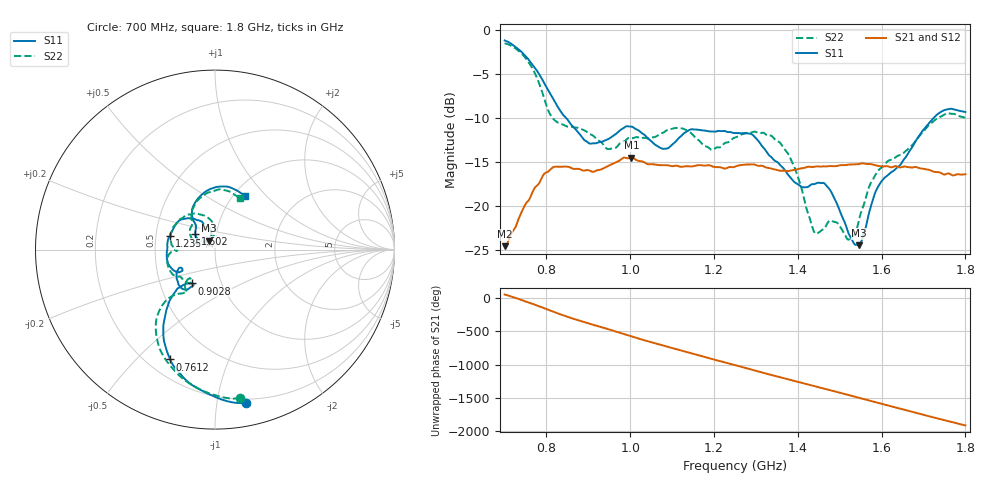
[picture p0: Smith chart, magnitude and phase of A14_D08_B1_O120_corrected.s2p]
! Created with skrf 1.9.0 (http://scikit-rf.org).
# Hz S RI R 50.0
!freq ReS11 ImS11 ReS21 ImS21 ReS12 ImS12 ReS22 ImS22
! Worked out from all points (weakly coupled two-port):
!   1601 points, 700 MHz to 1.8 GHz, reference 50 ohm
!   highest |S21| = -14.48 dB at 1.002 GHz (marker M1); lowest = -24.6 dB at 700.7 MHz (marker M2)
!   lowest |S11| = -24.5 dB at 1.546 GHz (marker M3), VSWR 1.13, Z = 46.5 + j4.56 ohm
!   |S11| at or under -10 dB: 847.2 MHz to 1.724 GHz (876.5 MHz wide, 68.2 % of centre)
!   |S22| runs from -23.8 to -1.5 dB; largest |S21 - S12| = 0.0037
!   S11 on the Smith chart (normalised r, x): 700 MHz: 0.17, -1.21; 761.2 MHz: 0.29, -0.63; 902.8 MHz: 0.73, -0.29; 1.235 GHz: 0.59, +0.10; 1.602 GHz: 0.79, +0.14; 1.8 GHz: 1.13, +0.76
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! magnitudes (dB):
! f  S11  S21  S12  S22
! 700 MHz  -1.2  -24.6  -24.3  -1.5
! 700.7 MHz  -1.2  -24.6  -24.2  -1.5
! 761.2 MHz  -3.6  -19.0  -18.9  -3.9
! 814.8 MHz  -7.7  -15.6  -15.7  -10.0
! 883.6 MHz  -12.1  -15.9  -15.8  -11.3
! 902.8 MHz  -12.9  -16.0  -15.9  -11.8
! 948.2 MHz  -12.4  -15.4  -15.4  -13.5
! 1.002 GHz  -11.0  -14.5  -14.6  -12.3
! 1.067 GHz  -13.2  -15.3  -15.3  -11.9
! 1.235 GHz  -11.6  -15.6  -15.7  -12.7
! 1.25 GHz  -11.7  -15.5  -15.5  -12.2
! 1.292 GHz  -11.9  -15.3  -15.3  -11.6
! 1.359 GHz  -15.4  -16.0  -16.0  -12.9
! 1.394 GHz  -17.3  -15.9  -15.8  -15.8
! 1.434 GHz  -17.5  -15.6  -15.5  -22.2
! 1.474 GHz  -18.0  -15.5  -15.5  -21.7
! 1.522 GHz  -23.2  -15.3  -15.3  -23.8
! 1.546 GHz  -24.5  -15.2  -15.2  -21.5
! 1.602 GHz  -17.0  -15.5  -15.5  -15.5
! 1.617 GHz  -16.4  -15.5  -15.5  -14.8
! 1.733 GHz  -9.6  -16.1  -16.2  -10.0
! 1.8 GHz  -9.3  -16.4  -16.4  -10.0
